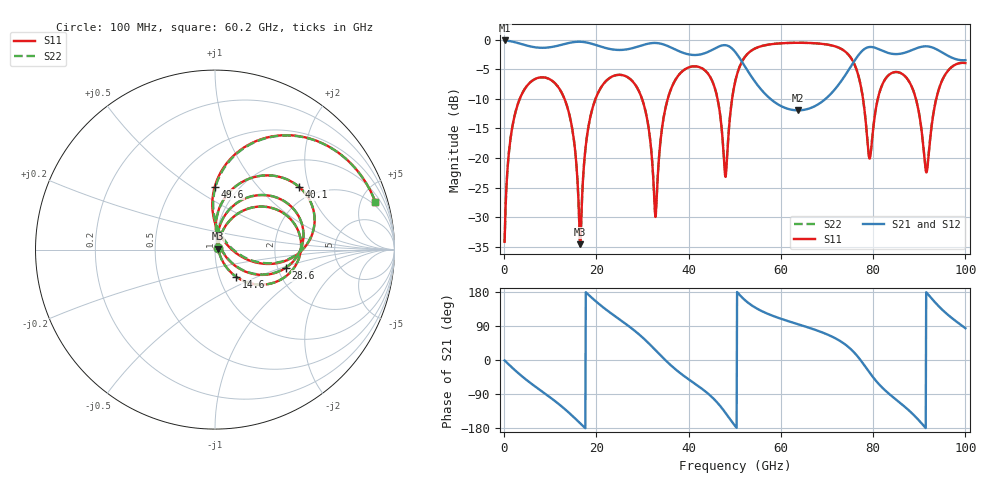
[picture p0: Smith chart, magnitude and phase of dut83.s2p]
! Touchstone file exported from HFSS 2026.1.0
!  File:  C:/ffzhzh/LocalFiles/Ansys_Project_Files/temp_train_TSV_RDL_83_1783451840_41684.aedt
!  Generated:  03:27:32 AM Jul  8, 2026
!  Design:  TSV_RDL
!  Project:  temp_train_TSV_RDL_83_1783451840_41684
! Variables:
!  h_bsmrdl = 2.59um
!  h_ox = 20um
!  h_rdl = 5um
!  h_sub = 74.63um
!  h_tmrdl = 3.93um
!  h_tsv = 74.63um
!  h_via = 3um
!  l_bsmrdl = 231.39um
!  l_sub = 3218.58um
!  l_tmrdl = 500.21um
!  m_sub = 200um
!  pitch = 49.55um
!  r_tsv = 14.39um
!  s_tmrdl = 10um
!  w_bsmrdl = 25.11um
!  w_sub = 500um
!  w_tmrdl = 16.08um
!  x_tsv_center1 = 508.25um
!  x_tsv_center2 = 764.75um
!  x_tsv_center3 = 1281.04um
!  x_tsv_center4 = 1537.54um
!  x_tsv_center5 = 2053.83um
!  x_tsv_center6 = 2310.33um
# GHz S MA R 50.000000
! Terminal data exported
! Port[1] = TM_RDL1_1_T1
! Port[2] = TM_RDL5_1_T1
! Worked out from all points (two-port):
!   1000 points, 100 MHz to 100 GHz, reference 50 ohm
!   highest |S21| = -0.14 dB at 100 MHz (marker M1); lowest = -11.9 dB at 63.7 GHz (marker M2)
!   |S21| within 3 dB of the highest: start of sweep to 51.07 GHz; 76.33 GHz to 97.35 GHz (21.02 GHz wide, 24.2 % of centre)
!   lowest |S11| = -34.5 dB at 16.5 GHz (marker M3), VSWR 1.04, Z = 51.9 + j0.467 ohm
!   |S11| at or under -10 dB: 13.08 GHz to 19.81 GHz (6.729 GHz wide, 40.9 % of centre); 29.9 GHz to 35.47 GHz (5.574 GHz wide, 17.1 % of centre); 89.27 GHz to 93.68 GHz (4.413 GHz wide, 4.82 % of centre) (the widest 3 of 6)
!   |S22| runs from -34.9 to -0.5 dB; largest |S21 - S12| = 6.1e-14
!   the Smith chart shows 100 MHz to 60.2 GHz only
!   S11 on the Smith chart (normalised r, x): 100 MHz: 1.03, +0.02; 14.6 GHz: 1.20, -0.38; 28.6 GHz: 2.21, -0.54; 40.1 GHz: 1.63, +1.73; 49.6 GHz: 0.78, +0.62; 60.2 GHz: 1.59, +6.46
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0.1  0.01965 34.9  0.9841 -1.2  0.9841 -1.2  0.01965 34.9
! Gamma 0 0 0 0
! Port Impedance 50 0 50 0
1.7  0.1766 63.6  0.9639 -19.8  0.9639 -19.8  0.1766 63.6
4.7  0.3955 35.7  0.8957 -51.2  0.8957 -51.2  0.3955 35.7
14.6  0.1919 -52.0  0.9465 -145.3  0.9465 -145.3  0.1918 -52.1
16.5  0.01874 13.9  0.9593 -167.2  0.9593 -167.2  0.01807 14.1
16.8  0.03763 67.7  0.958 -170.7  0.958 -170.7  0.03731 68.7
20.2  0.3443 57.7  0.893 151.5  0.893 151.5  0.3442 57.9
28.6  0.4068 -14.5  0.864 74.2  0.864 74.2  0.4067 -14.2
33.4  0.08073 84.1  0.9332 18.7  0.9332 18.7  0.08171 83.2
40.1  0.5843 36.6  0.7495 -51.9  0.7495 -51.9  0.5846 36.7
45.3  0.4294 -6.3  0.8273 -100.8  0.8273 -100.8  0.43 -5.8
47.9  0.07148 24.8  0.8982 -138.0  0.8982 -138.0  0.07645 25.8
49.6  0.3508 90.2  0.8275 -166.6  0.8275 -166.6  0.352 89.4
50.1  0.4436 85.0  0.7866 -174.5  0.7866 -174.5  0.4446 84.4
60.2  0.9321 16.6  0.2729 108.1  0.2729 108.1  0.9323 16.5
63.7  0.9404 4.1  0.253 94.4  0.253 94.4  0.9406 4.0
66.7  0.9351 -6.6  0.2671 82.7  0.2671 82.7  0.9353 -6.7
78  0.2783 -79.9  0.8275 -12.3  0.8275 -12.3  0.2791 -79.6
79.3  0.09964 -23.9  0.8672 -34.4  0.8672 -34.4  0.1009 -24.1
83.4  0.5033 -2.3  0.7693 -88.8  0.7693 -88.8  0.5032 -2.2
91.5  0.07579 -7.7  0.8787 178.9  0.8787 178.9  0.07951 -7.3
100  0.6343 -5.6  0.6714 83.8  0.6714 83.8  0.6343 -5.9
